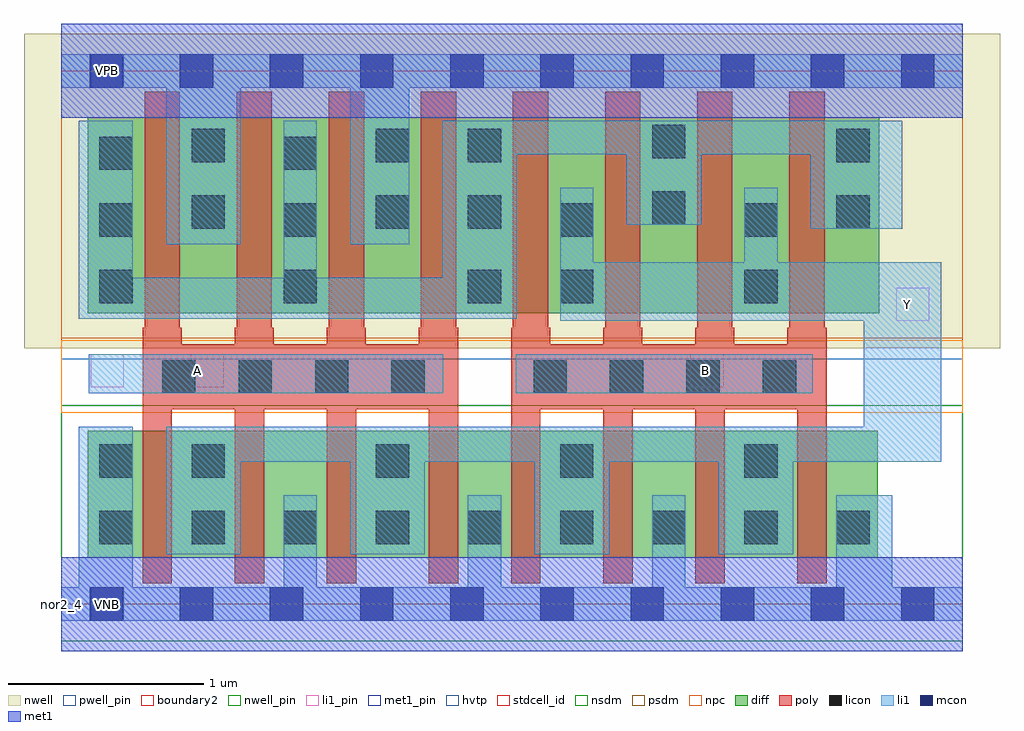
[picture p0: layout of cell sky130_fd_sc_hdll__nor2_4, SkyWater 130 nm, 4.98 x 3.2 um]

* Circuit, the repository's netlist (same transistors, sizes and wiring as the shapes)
* Copyright 2020 The SkyWater PDK Authors
*
* Licensed under the Apache License, Version 2.0 (the "License");
* you may not use this file except in compliance with the License.
* You may obtain a copy of the License at
*
*     https://www.apache.org/licenses/LICENSE-2.0
*
* Unless required by applicable law or agreed to in writing, software
* distributed under the License is distributed on an "AS IS" BASIS,
* WITHOUT WARRANTIES OR CONDITIONS OF ANY KIND, either express or implied.
* See the License for the specific language governing permissions and
* limitations under the License.
*
* SPDX-License-Identifier: Apache-2.0

.SUBCKT sky130_fd_sc_hdll__nor2_4 A B VGND VNB VPB VPWR Y
*.PININFO A:I B:I VGND:I VNB:I VPB:I VPWR:I Y:O
MMP0 VPWR A sndPA VPB sky130_fd_pr__pfet_01v8_hvt m=4 w=1.0U l=0.18U mult=1 sa=0.265
+ sb=0.265 sd=0.28 area=0.063 perim=1.14
MMP1 sndPA B Y VPB sky130_fd_pr__pfet_01v8_hvt m=4 w=1.0U l=0.18U mult=1 sa=0.265
+ sb=0.265 sd=0.28 area=0.063 perim=1.14
MMN0 Y A VGND VNB sky130_fd_pr__nfet_01v8 m=4 w=0.65U l=0.15U mult=1 sa=0.265 sb=0.265
+ sd=0.28 area=0.063 perim=1.14
MMN1 Y B VGND VNB sky130_fd_pr__nfet_01v8 m=4 w=0.65U l=0.15U mult=1 sa=0.265 sb=0.265
+ sd=0.28 area=0.063 perim=1.14
.ENDS sky130_fd_sc_hdll__nor2_4

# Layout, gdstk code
import gdstk
lib = gdstk.Library(unit=1e-6, precision=1e-09)
def R(c, l, rs):  # rectangles x0, y0, x1, y1
    for r in rs: c.add(gdstk.rectangle(r[:2], r[2:], *l))
def A(c, l, x, y, w, h, nx, ny, dx, dy):  # array of equal rectangles
    R(c, l, [(x+i*dx, y+j*dy, x+i*dx+w, y+j*dy+h) for i in range(nx) for j in range(ny)])
def P(c, l, *ps):  # polygons
    for p in ps: c.add(gdstk.Polygon(p, *l))
nwell_pin = (64, 16)
nwell = (64, 20)
diff = (65, 20)
poly = (66, 20)
licon = (66, 44)
li1_pin = (67, 16)
li1 = (67, 20)
mcon = (67, 44)
met1_pin = (68, 16)
met1 = (68, 20)
hvtp = (78, 44)
stdcell_id = (81, 4)
nsdm = (93, 44)
psdm = (94, 20)
npc = (95, 20)
pwell_pin = (122, 16)
boundary2 = (236, 0)

sky130_fd_sc_hdll__nor2_ = lib.new_cell('sky130_fd_sc_hdll__nor2_4')
R(sky130_fd_sc_hdll__nor2_, nwell_pin, [(0.15,2.635,0.32,2.805)])
R(sky130_fd_sc_hdll__nor2_, nwell, [(-0.19,1.305,4.79,2.91)])
R(sky130_fd_sc_hdll__nor2_, diff, [(0.135,0.235,4.165,0.885), (0.135,1.485,4.175,2.485)])
P(sky130_fd_sc_hdll__nor2_, poly, [(2.025,1.41),(2.015,1.41),(2.015,2.615),(1.835,2.615),(1.835,1.41),(1.825,1.41),(1.825,1.325),(1.555,1.325),(1.555,1.41),(1.545,1.41),(1.545,2.615),(1.365,2.615),(1.365,1.41),(1.355,1.41),(1.355,1.325),(1.085,1.325),(1.085,1.41),(1.075,1.41),(1.075,2.615),(0.895,2.615),(0.895,1.41),(0.885,1.41),(0.885,1.325),(0.615,1.325),(0.615,1.41),(0.605,1.41),(0.605,2.615),(0.425,2.615),(0.425,1.41),(0.415,1.41),(0.415,0.105),(0.565,0.105),(0.565,0.995),(0.885,0.995),(0.885,0.105),(1.035,0.105),(1.035,0.995),(1.355,0.995),(1.355,0.105),(1.505,0.105),(1.505,0.995),(1.875,0.995),(1.875,0.105),(2.025,0.105)],
  [(3.905,1.41),(3.895,1.41),(3.895,2.615),(3.715,2.615),(3.715,1.41),(3.705,1.41),(3.705,1.325),(3.435,1.325),(3.435,1.41),(3.425,1.41),(3.425,2.615),(3.245,2.615),(3.245,1.41),(3.235,1.41),(3.235,1.325),(2.965,1.325),(2.965,1.41),(2.955,1.41),(2.955,2.615),(2.775,2.615),(2.775,1.41),(2.765,1.41),(2.765,1.325),(2.495,1.325),(2.495,1.41),(2.485,1.41),(2.485,2.615),(2.305,2.615),(2.305,1.41),(2.295,1.41),(2.295,0.105),(2.445,0.105),(2.445,0.995),(2.765,0.995),(2.765,0.105),(2.915,0.105),(2.915,0.995),(3.235,0.995),(3.235,0.105),(3.385,0.105),(3.385,0.995),(3.755,0.995),(3.755,0.105),(3.905,0.105)])
A(sky130_fd_sc_hdll__nor2_, licon, 0.195, 0.305, 0.17, 0.17, 9, 1, 0.47, 0)
A(sky130_fd_sc_hdll__nor2_, licon, 0.665, 0.645, 0.17, 0.17, 4, 1, 0.94, 0)
A(sky130_fd_sc_hdll__nor2_, licon, 0.515, 1.075, 0.17, 0.17, 4, 1, 0.39, 0)
A(sky130_fd_sc_hdll__nor2_, licon, 2.41, 1.075, 0.17, 0.17, 4, 1, 0.39, 0)
A(sky130_fd_sc_hdll__nor2_, licon, 0.195, 1.535, 0.17, 0.17, 3, 1, 0.94, 0)
R(sky130_fd_sc_hdll__nor2_, licon, [(0.195,0.645,0.365,0.815), (2.545,1.535,2.715,1.705), (3.485,1.535,3.655,1.705), (0.195,1.875,0.365,2.045), (1.135,1.875,1.305,2.045), (2.545,1.875,2.715,2.045), (3.485,1.875,3.655,2.045), (0.665,1.915,0.835,2.085), (1.605,1.915,1.775,2.085), (2.075,1.915,2.245,2.085), (3.955,1.915,4.125,2.085), (3.015,1.935,3.185,2.105), (0.195,2.215,0.365,2.385), (1.135,2.215,1.305,2.385), (0.665,2.255,0.835,2.425), (1.605,2.255,1.775,2.425), (2.075,2.255,2.245,2.425), (3.955,2.255,4.125,2.425), (3.015,2.275,3.185,2.445)])
R(sky130_fd_sc_hdll__nor2_, li1_pin, [(0.15,1.105,0.32,1.275), (0.66,1.105,0.83,1.275), (3.21,1.105,3.38,1.275), (4.26,1.445,4.43,1.615)])
R(sky130_fd_sc_hdll__nor2_, li1, [(0.14,1.075,1.95,1.275), (2.32,1.075,3.835,1.275)])
P(sky130_fd_sc_hdll__nor2_, li1, [(4.6,0.085),(4.24,0.085),(4.24,0.555),(3.955,0.555),(3.955,0.085),(3.185,0.085),(3.185,0.555),(3.015,0.555),(3.015,0.085),(2.245,0.085),(2.245,0.555),(2.075,0.555),(2.075,0.085),(1.305,0.085),(1.305,0.555),(1.135,0.555),(1.135,0.085),(0.365,0.085),(0.365,0.905),(0.09,0.905),(0.09,0.085),(0,0.085),(0,-0.085),(4.6,-0.085)],
  [(4.6,2.805),(0,2.805),(0,2.635),(0.535,2.635),(0.535,1.835),(0.915,1.835),(0.915,2.635),(1.475,2.635),(1.475,1.835),(1.775,1.835),(1.775,2.635),(4.6,2.635)],
  [(4.29,2.465),(1.945,2.465),(1.945,1.665),(1.305,1.665),(1.305,2.465),(1.135,2.465),(1.135,1.665),(0.365,1.665),(0.365,2.465),(0.09,2.465),(0.09,1.455),(2.325,1.455),(2.325,2.295),(2.885,2.295),(2.885,1.935),(3.265,1.935),(3.265,2.295),(3.825,2.295),(3.825,1.915),(4.29,1.915)],
  [(4.49,1.745),(3.655,1.745),(3.655,2.125),(3.485,2.125),(3.485,1.745),(2.715,1.745),(2.715,2.125),(2.545,2.125),(2.545,1.445),(4.095,1.445),(4.095,0.905),(0.535,0.905),(0.535,0.255),(0.915,0.255),(0.915,0.725),(1.475,0.725),(1.475,0.255),(1.855,0.255),(1.855,0.725),(2.415,0.725),(2.415,0.255),(2.795,0.255),(2.795,0.725),(3.355,0.725),(3.355,0.255),(3.735,0.255),(3.735,0.725),(4.49,0.725)])
A(sky130_fd_sc_hdll__nor2_, mcon, 0.145, -0.085, 0.17, 0.17, 10, 2, 0.46, 2.72)
R(sky130_fd_sc_hdll__nor2_, met1_pin, [(0.15,-0.085,0.32,0.085), (0.15,2.635,0.32,2.805)])
R(sky130_fd_sc_hdll__nor2_, met1, [(0,-0.24,4.6,0.24), (0,2.48,4.6,2.96)])
R(sky130_fd_sc_hdll__nor2_, hvtp, [(0,1.25,4.6,2.72)])
R(sky130_fd_sc_hdll__nor2_, stdcell_id, [(0,0,4.6,2.72)])
R(sky130_fd_sc_hdll__nor2_, nsdm, [(0,-0.19,4.6,1.015)])
R(sky130_fd_sc_hdll__nor2_, psdm, [(0,1.355,4.6,2.91)])
R(sky130_fd_sc_hdll__nor2_, npc, [(0,0.975,4.6,1.345)])
R(sky130_fd_sc_hdll__nor2_, pwell_pin, [(0.15,-0.085,0.32,0.085)])
R(sky130_fd_sc_hdll__nor2_, boundary2, [(0,0,4.6,2.72)])
sky130_fd_sc_hdll__nor2_.add(gdstk.Label('Y', (4.32,1.53), layer=67, texttype=5))
sky130_fd_sc_hdll__nor2_.add(gdstk.Label('A', (0.695,1.19), layer=67, texttype=5))
sky130_fd_sc_hdll__nor2_.add(gdstk.Label('B', (3.285,1.19), layer=67, texttype=5))
sky130_fd_sc_hdll__nor2_.add(gdstk.Label('VPB', (0.235,2.72), layer=64, texttype=5))
sky130_fd_sc_hdll__nor2_.add(gdstk.Label('VNB', (0.235,0), layer=64, texttype=59))
sky130_fd_sc_hdll__nor2_.add(gdstk.Label('VGND', (0.23,0), layer=68, texttype=5))
sky130_fd_sc_hdll__nor2_.add(gdstk.Label('VPWR', (0.23,2.72), layer=68, texttype=5))
sky130_fd_sc_hdll__nor2_.add(gdstk.Label('nor2_4', (0,0), layer=83, texttype=44))

lib.write_gds('sky130_fd_sc_hdll__nor2_4.gds')
